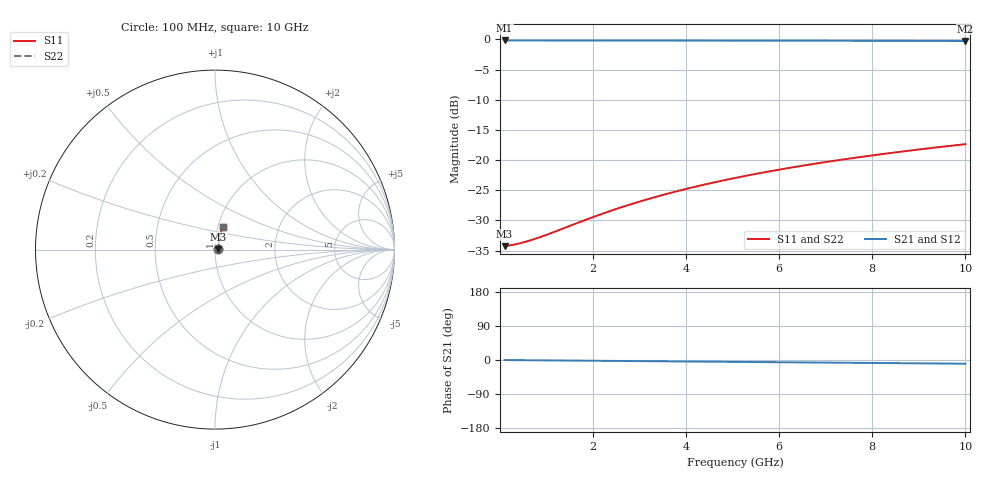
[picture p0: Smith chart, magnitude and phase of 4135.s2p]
# Hz S RI R 50.00
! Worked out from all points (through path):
!   100 points, 100 MHz to 10 GHz, reference 50 ohm
!   highest |S21| = -0.17 dB at 100 MHz (marker M1); lowest = -0.3 dB at 10 GHz (marker M2)
!   group delay of S21, straight-line fit = 2.72 ps
!   lowest |S11| = -34.3 dB at 100 MHz (marker M3), VSWR 1.04, Z = 52 + j0.137 ohm
!   |S11| at or under -10 dB: start of sweep to end of sweep
!   |S22| runs from -34.3 to -17.4 dB; largest |S21 - S12| = 0
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1e8  0.0193 0.00132  0.9807 -0.00168  0.9807 -0.00168  0.0193 0.00132
3e8  0.0195 0.00395  0.9805 -0.00504  0.9805 -0.00504  0.0195 0.00395
4e8  0.0196 0.00527  0.9804 -0.00672  0.9804 -0.00672  0.0196 0.00527
5e8  0.0197 0.00658  0.9803 -0.0084  0.9803 -0.0084  0.0197 0.00658
7e8  0.0199 0.00922  0.9801 -0.0118  0.9801 -0.0118  0.0199 0.00922
1e9  0.0201 0.0132  0.9799 -0.0168  0.9799 -0.0168  0.0201 0.0132
1.8e9  0.0208 0.0237  0.9791 -0.0302  0.9791 -0.0302  0.0208 0.0237
2.2e9  0.0213 0.0289  0.9787 -0.0369  0.9787 -0.0369  0.0213 0.0289
2.6e9  0.0218 0.0341  0.9782 -0.0436  0.9782 -0.0436  0.0218 0.0341
3e9  0.0224 0.0394  0.9776 -0.0503  0.9776 -0.0503  0.0224 0.0394
3.4e9  0.023 0.0446  0.9769 -0.057  0.9769 -0.057  0.023 0.0446
3.8e9  0.0237 0.0498  0.9762 -0.0636  0.9762 -0.0636  0.0237 0.0498
4.2e9  0.0245 0.055  0.9754 -0.0703  0.9754 -0.0703  0.0245 0.055
4.6e9  0.0253 0.0602  0.9745 -0.0769  0.9745 -0.0769  0.0253 0.0602
5.1e9  0.0264 0.0666  0.9734 -0.0852  0.9734 -0.0852  0.0264 0.0666
5.5e9  0.0274 0.0718  0.9723 -0.0918  0.9723 -0.0918  0.0274 0.0718
5.9e9  0.0285 0.0769  0.9712 -0.0984  0.9712 -0.0984  0.0285 0.0769
6.7e9  0.0308 0.0871  0.9689 -0.1115  0.9689 -0.1115  0.0308 0.0871
7.5e9  0.0334 0.0973  0.9662 -0.1246  0.9662 -0.1246  0.0334 0.0973
8.4e9  0.0367 0.1086  0.9628 -0.1392  0.9628 -0.1392  0.0367 0.1086
9.2e9  0.0398 0.1185  0.9596 -0.1521  0.9596 -0.1521  0.0398 0.1185
1e10  0.0433 0.1283  0.956 -0.1648  0.956 -0.1648  0.0433 0.1283
